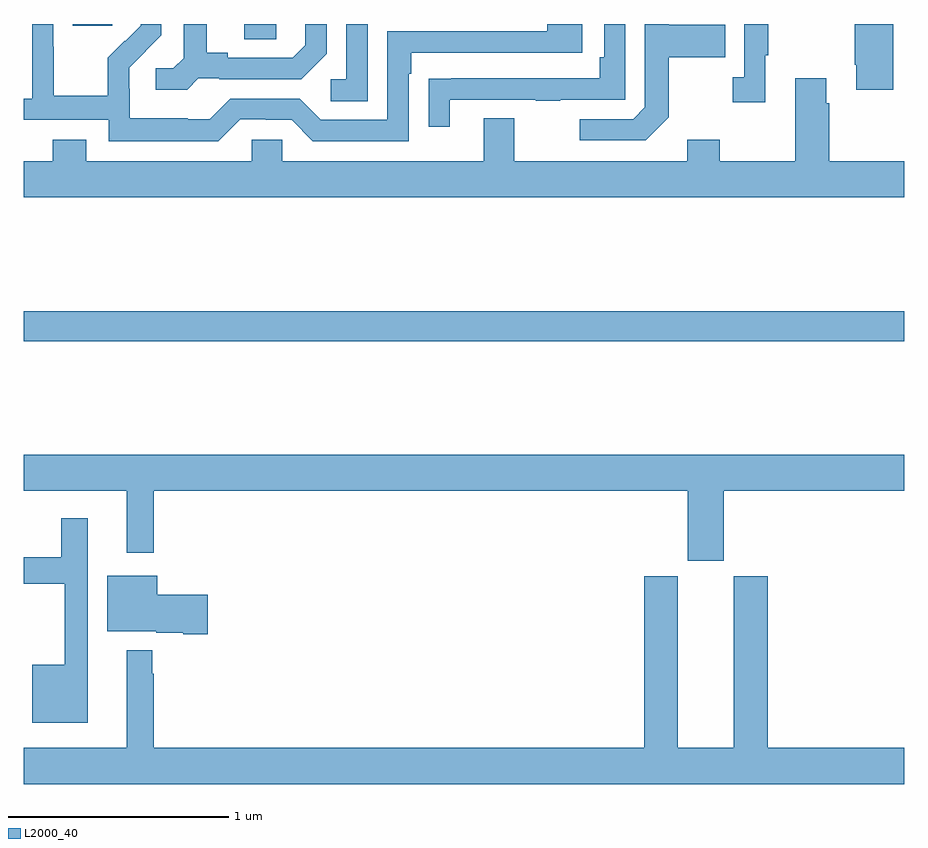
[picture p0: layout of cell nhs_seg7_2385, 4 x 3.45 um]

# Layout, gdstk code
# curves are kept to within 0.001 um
import gdstk
lib = gdstk.Library(unit=1e-6, precision=1e-09)
def R(c, l, rs):  # rectangles x0, y0, x1, y1
    for r in rs: c.add(gdstk.rectangle(r[:2], r[2:], *l))
def P(c, l, *ps):  # polygons
    for p in ps: c.add(gdstk.Polygon(p, *l))
L2000_40 = (2000, 40)

nhs_seg7_2385 = lib.new_cell('nhs_seg7_2385')
R(nhs_seg7_2385, L2000_40, [(265,1070.56,269,1070.696), (266.003,1071.931,266.148,1072), (265.223,1071.993,265.402,1072)])
P(nhs_seg7_2385, L2000_40, [(266.562,1072),(266.466,1072),(266.466,1071.75),(266.394,1071.75),(266.394,1071.649),(266.562,1071.649)],
  [(265.983,1071.567),(266.099,1071.567),(266.099,1071.564),(266.217,1071.564),(266.313,1071.468),(266.748,1071.468),(266.748,1071.773),(266.761,1071.773),(266.761,1071.87),(267.538,1071.87),(267.538,1072),(267.377,1072),(267.377,1071.966),(266.652,1071.966),(266.652,1071.564),(266.349,1071.564),(266.253,1071.66),(265.938,1071.66),(265.845,1071.567),(265.745,1071.567),(265.745,1071.571),(265.482,1071.571),(265.482,1071.705),(265.48,1071.705),(265.48,1071.802),(265.626,1071.95),(265.626,1072),(265.532,1072),(265.532,1071.992),(265.461,1071.921),(265.458,1071.924),(265.381,1071.847),(265.381,1071.673),(265.137,1071.673),(265.137,1071.896),(265.134,1071.896),(265.134,1072),(265.038,1072),(265.038,1071.66),(265,1071.66),(265,1071.564),(265.386,1071.564),(265.386,1071.467),(265.883,1071.467)],
  [(265.794,1071.753),(265.888,1071.753),(265.888,1071.75),(266.26,1071.75),(266.376,1071.866),(266.376,1072),(266.279,1072),(266.279,1071.903),(266.222,1071.846),(265.927,1071.846),(265.927,1071.869),(265.831,1071.869),(265.831,1072),(265.727,1072),(265.727,1071.845),(265.68,1071.798),(265.599,1071.798),(265.599,1071.701),(265.742,1071.701)],
  [(267.931,1071.577),(267.931,1071.85),(268.187,1071.85),(268.187,1071.997),(267.931,1071.997),(267.931,1072),(267.822,1072),(267.822,1071.621),(267.768,1071.567),(267.525,1071.567),(267.525,1071.471),(267.825,1071.471)],
  [(266.935,1071.657),(267.325,1071.657),(267.325,1071.652),(267.437,1071.652),(267.437,1071.657),(267.732,1071.657),(267.732,1072),(267.636,1072),(267.636,1071.85),(267.616,1071.85),(267.616,1071.753),(266.941,1071.753),(266.941,1071.752),(266.839,1071.752),(266.839,1071.534),(266.935,1071.534)],
  [(268.949,1072),(268.774,1072),(268.774,1071.814),(268.781,1071.814),(268.781,1071.702),(268.949,1071.702)],
  [(268.369,1071.857),(268.381,1071.857),(268.381,1072),(268.272,1072),(268.272,1071.758),(268.221,1071.758),(268.221,1071.645),(268.369,1071.645)],
  [(269,1071.376),(268.658,1071.376),(268.658,1071.641),(268.645,1071.641),(268.645,1071.754),(268.505,1071.754),(268.505,1071.376),(268.161,1071.376),(268.161,1071.475),(268.013,1071.475),(268.013,1071.376),(267.229,1071.376),(267.229,1071.571),(267.089,1071.571),(267.089,1071.376),(266.175,1071.376),(266.175,1071.474),(266.037,1071.474),(266.037,1071.376),(265.285,1071.376),(265.285,1071.475),(265.133,1071.475),(265.133,1071.376),(265,1071.376),(265,1071.212),(269,1071.212)],
  [(268.18,1069.88),(269,1069.88),(269,1070.044),(265,1070.044),(265,1069.88),(265.469,1069.88),(265.469,1069.599),(265.591,1069.599),(265.591,1069.88),(268.016,1069.88),(268.016,1069.563),(268.18,1069.563)],
  [(265.291,1069.756),(265.17,1069.756),(265.17,1069.579),(265,1069.579),(265,1069.458),(265.187,1069.458),(265.187,1069.09),(265.04,1069.09),(265.04,1068.827),(265.291,1068.827)],
  [(265.837,1069.407),(265.606,1069.407),(265.606,1069.495),(265.379,1069.495),(265.379,1069.241),(265.602,1069.241),(265.602,1069.235),(265.724,1069.235),(265.724,1069.229),(265.837,1069.229)],
  [(269,1068.712),(268.379,1068.712),(268.379,1069.491),(268.226,1069.491),(268.226,1068.712),(267.97,1068.712),(267.97,1069.491),(267.818,1069.491),(267.818,1068.712),(265.591,1068.712),(265.591,1069.049),(265.583,1069.049),(265.583,1069.156),(265.469,1069.156),(265.469,1068.712),(265,1068.712),(265,1068.548),(269,1068.548)])

lib.write_gds('nhs_seg7_2385.gds')
